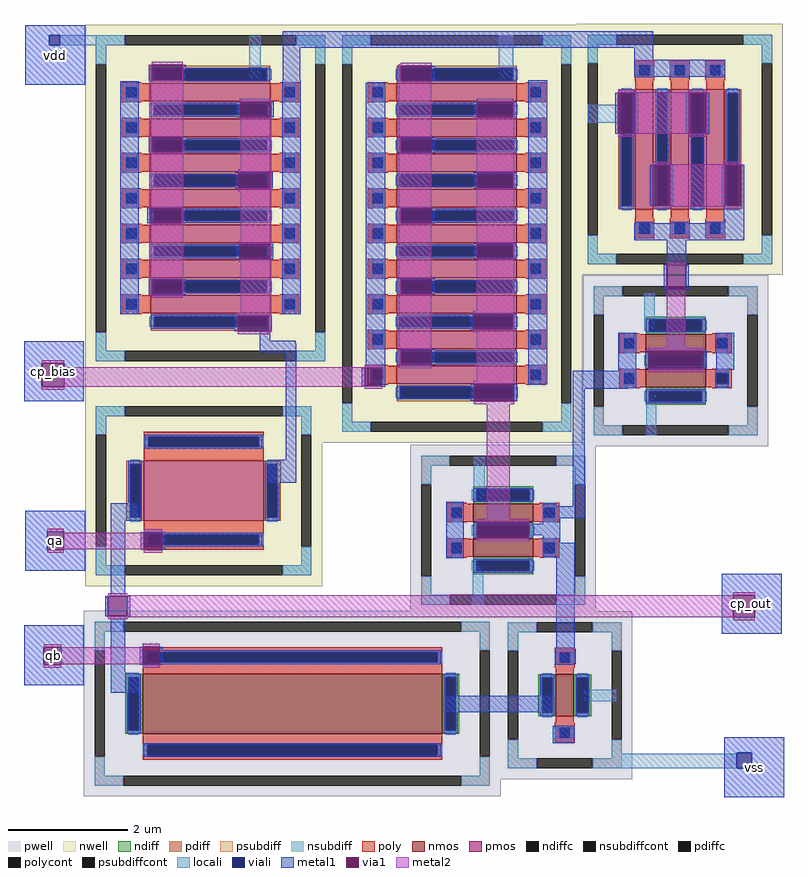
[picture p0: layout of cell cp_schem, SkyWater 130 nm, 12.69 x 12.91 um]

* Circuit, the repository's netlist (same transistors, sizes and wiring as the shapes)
** sch_path: /home/harsh/design/xschem/PLL_FOLDER/cp/cp_schem.sch
.subckt cp_schem vdd cp_bias qa cp_out qb vss
*.PININFO qa:I qb:I cp_out:O vdd:B vss:B cp_bias:I
XM1 n1 n1 vdd vdd sky130_fd_pr__pfet_01v8 L=0.3 W=6 nf=3 m=1
XM2 n1 bias vss vss sky130_fd_pr__nfet_01v8 L=0.3 W=2 nf=2 m=1
XM3 bias bias vss vss sky130_fd_pr__nfet_01v8 L=0.30 W=2 nf=2 m=1
XM4 n2 n1 vdd vdd sky130_fd_pr__pfet_01v8 L=0.3 W=14 nf=7 m=1
XM5 n3 bias vss vss sky130_fd_pr__nfet_01v8 L=0.3 W=0.7 nf=1 m=1
XM6 cp_out qa n2 vdd sky130_fd_pr__pfet_01v8 L=2 W=1 nf=1 m=1
XM7 cp_out qb n3 vss sky130_fd_pr__nfet_01v8 L=5 W=1 nf=1 m=1
XM8 bias cp_bias vdd vdd sky130_fd_pr__pfet_01v8 L=0.3 W=18 nf=9 m=1
.ends
.end

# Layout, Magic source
magic
tech sky130A
magscale 1 2
<< nwell >>
rect 2546 416 3364 422
rect 2524 300 3364 416
rect 3306 168 3364 300
<< locali >>
rect 2440 1494 2594 1528
rect 3072 1382 3110 1526
rect 3906 1380 3954 1528
rect 4202 1236 4324 1296
rect 4392 542 4426 666
rect 4398 192 4432 326
rect 3822 -24 3858 120
rect 3818 -374 3854 -244
rect 4190 -696 4298 -658
rect 4282 -920 4700 -872
<< viali >>
rect 2404 1494 2440 1528
rect 4700 -920 4750 -868
<< metal1 >>
rect 2324 1528 2524 1562
rect 2324 1494 2404 1528
rect 2440 1494 2524 1528
rect 2324 1362 2524 1494
rect 3184 1486 4422 1542
rect 2736 1378 2746 1430
rect 2850 1378 2860 1430
rect 3184 1376 3242 1486
rect 4358 1446 4422 1486
rect 2642 596 2704 1374
rect 3030 1254 3040 1306
rect 3144 1254 3154 1306
rect 2736 1138 2746 1190
rect 2850 1138 2860 1190
rect 3026 1018 3036 1070
rect 3140 1018 3150 1070
rect 2732 900 2742 952
rect 2846 900 2856 952
rect 3028 780 3038 832
rect 3142 780 3152 832
rect 2736 662 2746 714
rect 2850 662 2860 714
rect 3182 596 3244 1376
rect 3568 1374 3578 1426
rect 3682 1374 3692 1426
rect 4358 1390 4662 1446
rect 3024 540 3034 592
rect 3138 540 3148 592
rect 3108 508 3142 540
rect 2320 432 2520 506
rect 3108 498 3228 508
rect 3108 470 3230 498
rect 3122 468 3230 470
rect 2320 354 2380 432
rect 2454 354 2520 432
rect 2320 306 2520 354
rect 3194 110 3230 468
rect 3462 418 3526 1370
rect 3822 1254 3832 1306
rect 3954 1254 3964 1306
rect 3568 1136 3578 1188
rect 3682 1136 3692 1188
rect 3822 1018 3832 1070
rect 3954 1018 3964 1070
rect 3568 900 3578 952
rect 3682 900 3692 952
rect 3822 782 3832 834
rect 3954 782 3964 834
rect 3568 664 3578 716
rect 3682 664 3692 716
rect 3810 546 3820 598
rect 3954 546 3964 598
rect 3568 428 3578 480
rect 3682 428 3692 480
rect 3448 358 3458 418
rect 3516 358 3526 418
rect 3462 354 3526 358
rect 3812 306 3822 364
rect 3958 306 3968 364
rect 4004 362 4068 1378
rect 4294 1200 4304 1336
rect 4360 1200 4370 1336
rect 4532 1200 4542 1336
rect 4598 1200 4608 1336
rect 4412 958 4422 1096
rect 4478 958 4488 1096
rect 4650 958 4660 1096
rect 4716 958 4726 1096
rect 4656 902 4726 958
rect 4598 900 4726 902
rect 4358 844 4726 900
rect 4466 762 4532 844
rect 4456 678 4466 762
rect 4530 678 4540 762
rect 4304 408 4364 534
rect 4394 414 4404 474
rect 4592 414 4600 474
rect 4632 411 4692 534
rect 4152 350 4364 408
rect 4152 348 4336 350
rect 3166 96 3230 110
rect 3130 34 3230 96
rect 2324 -130 2524 -60
rect 2324 -190 2398 -130
rect 2452 -190 2524 -130
rect 2324 -260 2524 -190
rect 2610 -86 2702 -34
rect 2610 -94 2674 -86
rect 2610 -346 2658 -94
rect 2710 -190 2720 -132
rect 2782 -190 2792 -132
rect 3730 -218 3788 -30
rect 4152 -44 4192 348
rect 4052 -84 4192 -44
rect 3822 -152 3832 -98
rect 4006 -104 4016 -98
rect 4052 -104 4110 -84
rect 4006 -142 4110 -104
rect 4006 -152 4016 -142
rect 4052 -166 4110 -142
rect 4052 -206 4160 -166
rect 2592 -412 2602 -346
rect 2664 -412 2674 -346
rect 2320 -516 2520 -442
rect 2320 -574 2386 -516
rect 2444 -574 2520 -516
rect 2320 -642 2520 -574
rect 2610 -600 2658 -412
rect 2706 -574 2716 -514
rect 2774 -574 2784 -514
rect 4098 -520 4160 -206
rect 4650 -342 4850 -270
rect 4650 -416 4688 -342
rect 4760 -416 4850 -342
rect 4650 -470 4850 -416
rect 4094 -572 4162 -520
rect 2610 -616 2680 -600
rect 2610 -668 2706 -616
rect 3726 -732 4082 -678
rect 4086 -836 4158 -778
rect 4658 -868 4858 -816
rect 4658 -920 4700 -868
rect 4750 -920 4858 -868
rect 4658 -1016 4858 -920
<< via1 >>
rect 2746 1378 2850 1430
rect 3040 1254 3144 1306
rect 2746 1138 2850 1190
rect 3036 1018 3140 1070
rect 2742 900 2846 952
rect 3038 780 3142 832
rect 2746 662 2850 714
rect 3578 1374 3682 1426
rect 3034 540 3138 592
rect 2380 354 2454 432
rect 3832 1254 3954 1306
rect 3578 1136 3682 1188
rect 3832 1018 3954 1070
rect 3578 900 3682 952
rect 3832 782 3954 834
rect 3578 664 3682 716
rect 3820 546 3954 598
rect 3578 428 3682 480
rect 3458 358 3516 418
rect 3822 306 3958 364
rect 4304 1200 4360 1336
rect 4542 1200 4598 1336
rect 4422 958 4478 1096
rect 4660 958 4716 1096
rect 4466 678 4530 762
rect 4404 414 4592 474
rect 2398 -190 2452 -130
rect 2720 -190 2782 -132
rect 3832 -152 4006 -98
rect 2602 -412 2664 -346
rect 2386 -574 2444 -516
rect 2716 -574 2774 -514
rect 4688 -416 4760 -342
<< metal2 >>
rect 2746 1430 2850 1440
rect 3578 1432 3682 1436
rect 2738 1378 2746 1430
rect 2850 1378 2852 1430
rect 2738 1190 2852 1378
rect 3572 1426 3682 1432
rect 3572 1374 3578 1426
rect 3572 1364 3682 1374
rect 3040 1308 3144 1316
rect 3040 1306 3146 1308
rect 3144 1254 3146 1306
rect 3040 1244 3146 1254
rect 2738 1138 2746 1190
rect 2850 1138 2852 1190
rect 2738 952 2852 1138
rect 3044 1080 3146 1244
rect 3036 1070 3146 1080
rect 3140 1018 3146 1070
rect 3036 1008 3146 1018
rect 2738 900 2742 952
rect 2846 900 2852 952
rect 2738 714 2852 900
rect 3044 842 3146 1008
rect 3038 832 3146 842
rect 3142 780 3146 832
rect 3038 770 3146 780
rect 2738 662 2746 714
rect 2850 662 2852 714
rect 2746 652 2850 662
rect 3044 602 3146 770
rect 3034 592 3146 602
rect 3138 540 3146 592
rect 3034 538 3146 540
rect 3572 1198 3680 1364
rect 4304 1338 4360 1346
rect 4542 1338 4598 1346
rect 4302 1336 4600 1338
rect 3832 1308 3954 1316
rect 3832 1306 3958 1308
rect 3954 1254 3958 1306
rect 3572 1188 3682 1198
rect 3572 1136 3578 1188
rect 3572 1126 3682 1136
rect 3572 962 3680 1126
rect 3832 1070 3958 1254
rect 4302 1200 4304 1336
rect 4360 1200 4542 1336
rect 4598 1200 4600 1336
rect 4304 1190 4360 1200
rect 4542 1190 4598 1200
rect 4422 1098 4478 1106
rect 4660 1098 4716 1106
rect 3954 1018 3958 1070
rect 3572 952 3682 962
rect 3572 900 3578 952
rect 3572 890 3682 900
rect 3572 726 3680 890
rect 3832 834 3958 1018
rect 4416 1096 4718 1098
rect 4416 958 4422 1096
rect 4478 958 4660 1096
rect 4716 958 4718 1096
rect 4416 956 4718 958
rect 4422 948 4478 956
rect 4660 948 4716 956
rect 3954 782 3958 834
rect 3572 716 3682 726
rect 3572 664 3578 716
rect 3572 654 3682 664
rect 3034 530 3138 538
rect 3572 490 3680 654
rect 3832 608 3958 782
rect 3820 598 3958 608
rect 3954 546 3958 598
rect 3820 536 3958 546
rect 3572 480 3682 490
rect 2380 432 2454 442
rect 3572 428 3578 480
rect 3458 420 3516 428
rect 2454 418 3516 420
rect 2454 358 3458 418
rect 3572 418 3682 428
rect 3572 416 3680 418
rect 3832 374 3958 536
rect 4466 762 4530 772
rect 4466 668 4530 678
rect 4466 484 4528 668
rect 4404 474 4592 484
rect 4404 404 4592 414
rect 2454 354 3516 358
rect 2380 344 2454 354
rect 3458 348 3516 354
rect 3822 364 3958 374
rect 3822 296 3958 306
rect 3866 -88 3942 296
rect 3832 -98 4006 -88
rect 2398 -130 2452 -120
rect 2720 -132 2782 -122
rect 2452 -188 2720 -134
rect 2398 -200 2452 -190
rect 3832 -162 4006 -152
rect 2720 -200 2782 -190
rect 2602 -342 2664 -336
rect 4688 -342 4760 -332
rect 2598 -346 4688 -342
rect 2598 -412 2602 -346
rect 2664 -412 4688 -346
rect 2598 -416 4688 -412
rect 2602 -422 2664 -416
rect 4688 -426 4760 -416
rect 2386 -516 2444 -506
rect 2716 -514 2774 -504
rect 2444 -572 2716 -516
rect 2386 -584 2444 -574
rect 2716 -584 2774 -574
use sky130_fd_pr__pfet_01v8_6QKSWZ  XM1
transform 1 0 4510 0 1 1147
box -344 -419 344 419
use sky130_fd_pr__nfet_01v8_8LLW3F  XM2
transform 0 1 4496 -1 0 441
box -285 -310 285 310
use sky130_fd_pr__nfet_01v8_8LLW3F  XM3
transform 0 -1 3920 1 0 -125
box -285 -310 285 310
use sky130_fd_pr__pfet_01v8_6Q3TWZ  XM4
transform 0 1 2943 -1 0 984
box -580 -419 580 419
use sky130_fd_pr__nfet_01v8_8YFQNF  XM5
transform -1 0 4126 0 -1 -676
box -226 -280 226 280
use sky130_fd_pr__pfet_01v8_GJYSVV  XM6
transform 1 0 2920 0 1 7
box -396 -319 396 319
use sky130_fd_pr__nfet_01v8_U4BYG2  XM7
transform 1 0 3216 0 1 -704
box -696 -310 696 310
use sky130_fd_pr__pfet_01v8_6QBZWZ  XM8
transform 0 1 3765 1 0 866
box -698 -419 698 419
<< labels >>
flabel metal1 2320 306 2520 506 0 FreeSans 256 0 0 0 cp_bias
port 1 nsew
flabel metal1 2324 -260 2524 -60 0 FreeSans 256 0 0 0 qa
port 2 nsew
flabel metal1 2320 -642 2520 -442 0 FreeSans 256 0 0 0 qb
port 4 nsew
flabel metal1 4650 -470 4850 -270 0 FreeSans 256 0 0 0 cp_out
port 3 nsew
flabel metal1 4658 -1016 4858 -816 0 FreeSans 256 0 0 0 vss
port 5 nsew
flabel metal1 2324 1362 2524 1562 0 FreeSans 256 0 0 0 vdd
port 0 nsew
<< end >>

# cell sky130_fd_pr__pfet_01v8_6QKSWZ: kit device sky130_fd_pr__pfet_01v8, w 2.0 l 0.3 m 1 nf 3 diffcov 100 polycov 100 guard 1 glc 1 grc 1 gtc 1 gbc 1 tbcov 100 rlcov 100 topc 1 botc 1 poverlap 0 doverlap 1 lmin 0.15 wmin 0.42 compatible {sky130_fd_pr__pfet_01v8 sky130_fd_pr__pfet_01v8_lvt sky130_fd_pr__pfet_01v8_hvt sky130_fd_pr__pfet_g5v0d10v5} full_metal 1 viasrc 100 viadrn 100 viagate 100 viagb 0 viagr 0 viagl 0 viagt 0

# cell sky130_fd_pr__nfet_01v8_8LLW3F: kit device sky130_fd_pr__nfet_01v8, w 1.0 l 0.3 m 1 nf 2 diffcov 100 polycov 100 guard 1 glc 1 grc 1 gtc 1 gbc 1 tbcov 100 rlcov 100 topc 1 botc 1 poverlap 0 doverlap 1 lmin 0.15 wmin 0.42 compatible {sky130_fd_pr__nfet_01v8 sky130_fd_pr__nfet_01v8_lvt sky130_fd_bs_flash__special_sonosfet_star sky130_fd_pr__nfet_g5v0d10v5 sky130_fd_pr__nfet_05v0_nvt sky130_fd_pr__nfet_03v3_nvt} full_metal 1 viasrc 100 viadrn 100 viagate 100 viagb 0 viagr 0 viagl 0 viagt 0

# cell sky130_fd_pr__pfet_01v8_6Q3TWZ: kit device sky130_fd_pr__pfet_01v8, w 2.0 l 0.3 m 1 nf 7 diffcov 100 polycov 100 guard 1 glc 1 grc 1 gtc 1 gbc 1 tbcov 100 rlcov 100 topc 1 botc 1 poverlap 0 doverlap 1 lmin 0.15 wmin 0.42 compatible {sky130_fd_pr__pfet_01v8 sky130_fd_pr__pfet_01v8_lvt sky130_fd_pr__pfet_01v8_hvt sky130_fd_pr__pfet_g5v0d10v5} full_metal 1 viasrc 100 viadrn 100 viagate 100 viagb 0 viagr 0 viagl 0 viagt 0

# cell sky130_fd_pr__nfet_01v8_8YFQNF: kit device sky130_fd_pr__nfet_01v8, w 0.7 l 0.3 m 1 nf 1 diffcov 100 polycov 100 guard 1 glc 1 grc 1 gtc 1 gbc 1 tbcov 100 rlcov 100 topc 1 botc 1 poverlap 0 doverlap 1 lmin 0.15 wmin 0.42 compatible {sky130_fd_pr__nfet_01v8 sky130_fd_pr__nfet_01v8_lvt sky130_fd_bs_flash__special_sonosfet_star sky130_fd_pr__nfet_g5v0d10v5 sky130_fd_pr__nfet_05v0_nvt sky130_fd_pr__nfet_03v3_nvt} full_metal 1 viasrc 100 viadrn 100 viagate 100 viagb 0 viagr 0 viagl 0 viagt 0

# cell sky130_fd_pr__pfet_01v8_GJYSVV: kit device sky130_fd_pr__pfet_01v8, w 1.0 l 2.0 m 1 nf 1 diffcov 100 polycov 100 guard 1 glc 1 grc 1 gtc 1 gbc 1 tbcov 100 rlcov 100 topc 1 botc 1 poverlap 0 doverlap 1 lmin 0.15 wmin 0.42 compatible {sky130_fd_pr__pfet_01v8 sky130_fd_pr__pfet_01v8_lvt sky130_fd_pr__pfet_01v8_hvt sky130_fd_pr__pfet_g5v0d10v5} full_metal 1 viasrc 100 viadrn 100 viagate 100 viagb 0 viagr 0 viagl 0 viagt 0

# cell sky130_fd_pr__nfet_01v8_U4BYG2: kit device sky130_fd_pr__nfet_01v8, w 1.0 l 5.0 m 1 nf 1 diffcov 100 polycov 100 guard 1 glc 1 grc 1 gtc 1 gbc 1 tbcov 100 rlcov 100 topc 1 botc 1 poverlap 0 doverlap 1 lmin 0.15 wmin 0.42 compatible {sky130_fd_pr__nfet_01v8 sky130_fd_pr__nfet_01v8_lvt sky130_fd_bs_flash__special_sonosfet_star sky130_fd_pr__nfet_g5v0d10v5 sky130_fd_pr__nfet_05v0_nvt sky130_fd_pr__nfet_03v3_nvt} full_metal 1 viasrc 100 viadrn 100 viagate 100 viagb 0 viagr 0 viagl 0 viagt 0

# cell sky130_fd_pr__pfet_01v8_6QBZWZ: kit device sky130_fd_pr__pfet_01v8, w 2.0 l 0.3 m 1 nf 9 diffcov 100 polycov 100 guard 1 glc 1 grc 1 gtc 1 gbc 1 tbcov 100 rlcov 100 topc 1 botc 1 poverlap 0 doverlap 1 lmin 0.15 wmin 0.42 compatible {sky130_fd_pr__pfet_01v8 sky130_fd_pr__pfet_01v8_lvt sky130_fd_pr__pfet_01v8_hvt sky130_fd_pr__pfet_g5v0d10v5} full_metal 1 viasrc 100 viadrn 100 viagate 100 viagb 0 viagr 0 viagl 0 viagt 0
